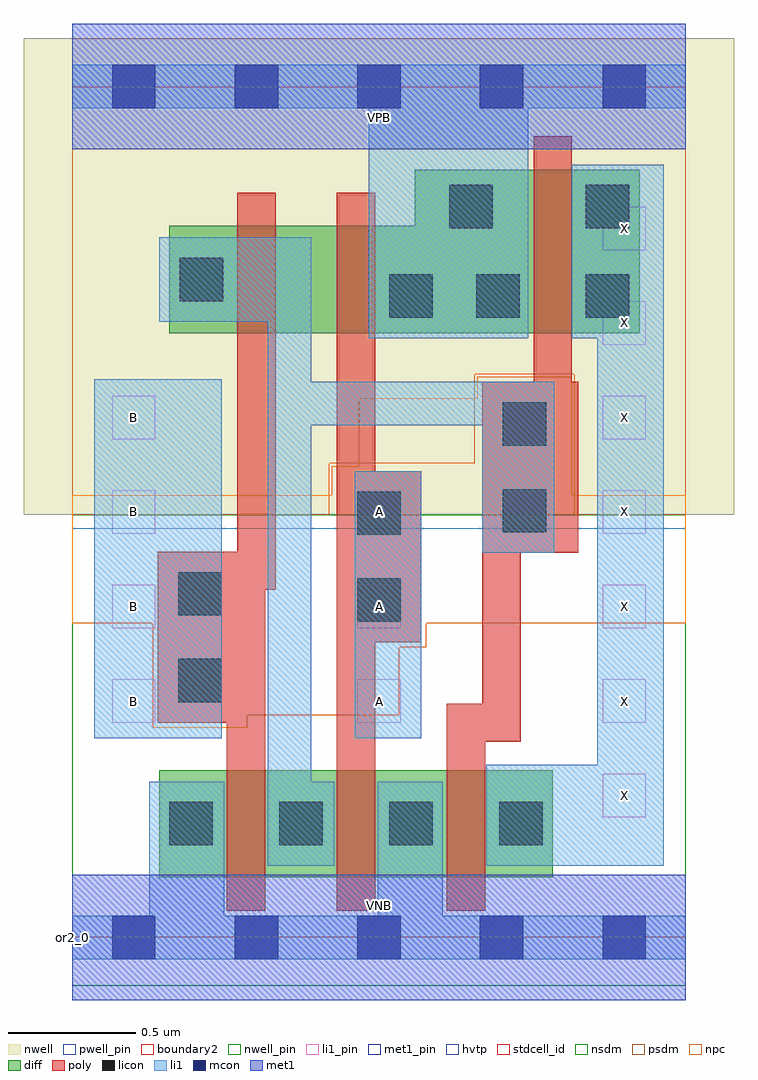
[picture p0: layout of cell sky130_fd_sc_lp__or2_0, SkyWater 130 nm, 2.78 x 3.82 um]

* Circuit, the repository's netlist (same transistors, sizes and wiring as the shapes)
* Copyright 2020 The SkyWater PDK Authors
*
* Licensed under the Apache License, Version 2.0 (the "License");
* you may not use this file except in compliance with the License.
* You may obtain a copy of the License at
*
*     https://www.apache.org/licenses/LICENSE-2.0
*
* Unless required by applicable law or agreed to in writing, software
* distributed under the License is distributed on an "AS IS" BASIS,
* WITHOUT WARRANTIES OR CONDITIONS OF ANY KIND, either express or implied.
* See the License for the specific language governing permissions and
* limitations under the License.
*
* SPDX-License-Identifier: Apache-2.0

.SUBCKT sky130_fd_sc_lp__or2_0 A B VGND VNB VPB VPWR X
*.PININFO A:I B:I VGND:I VNB:I VPB:I VPWR:I X:O
MMP0 VPWR A sndPA VPB sky130_fd_pr__pfet_01v8_hvt m=1 w=0.42U l=0.15U mult=1 sa=0.265
+ sb=0.265 sd=0.28 area=0.063 perim=1.14
MMP1 sndPA B y VPB sky130_fd_pr__pfet_01v8_hvt m=1 w=0.42U l=0.15U mult=1 sa=0.265
+ sb=0.265 sd=0.28 area=0.063 perim=1.14
MMIP2 X y VPWR VPB sky130_fd_pr__pfet_01v8_hvt m=1 w=0.64U l=0.15U mult=1 sa=0.265
+ sb=0.265 sd=0.28 area=0.063 perim=1.14
MMN0 y A VGND VNB sky130_fd_pr__nfet_01v8 m=1 w=0.42U l=0.15U mult=1 sa=0.265 sb=0.265
+ sd=0.28 area=0.063 perim=1.14
MMN1 y B VGND VNB sky130_fd_pr__nfet_01v8 m=1 w=0.42U l=0.15U mult=1 sa=0.265 sb=0.265
+ sd=0.28 area=0.063 perim=1.14
MMIN2 X y VGND VNB sky130_fd_pr__nfet_01v8 m=1 w=0.42U l=0.15U mult=1 sa=0.265
+ sb=0.265 sd=0.28 area=0.063 perim=1.14
.ENDS sky130_fd_sc_lp__or2_0

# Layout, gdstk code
import gdstk
lib = gdstk.Library(unit=1e-6, precision=1e-09)
def R(c, l, rs):  # rectangles x0, y0, x1, y1
    for r in rs: c.add(gdstk.rectangle(r[:2], r[2:], *l))
def A(c, l, x, y, w, h, nx, ny, dx, dy):  # array of equal rectangles
    R(c, l, [(x+i*dx, y+j*dy, x+i*dx+w, y+j*dy+h) for i in range(nx) for j in range(ny)])
def P(c, l, *ps):  # polygons
    for p in ps: c.add(gdstk.Polygon(p, *l))
nwell_pin = (64, 16)
nwell = (64, 20)
diff = (65, 20)
poly = (66, 20)
licon = (66, 44)
li1_pin = (67, 16)
li1 = (67, 20)
mcon = (67, 44)
met1_pin = (68, 16)
met1 = (68, 20)
hvtp = (78, 44)
stdcell_id = (81, 4)
nsdm = (93, 44)
psdm = (94, 20)
npc = (95, 20)
pwell_pin = (122, 16)
boundary2 = (236, 0)

sky130_fd_sc_lp__or2_0 = lib.new_cell('sky130_fd_sc_lp__or2_0')
R(sky130_fd_sc_lp__or2_0, nwell_pin, [(0,3.085,2.4,3.33)])
R(sky130_fd_sc_lp__or2_0, nwell, [(-0.19,1.655,2.59,3.52)])
R(sky130_fd_sc_lp__or2_0, diff, [(0.34,0.235,1.88,0.655)])
P(sky130_fd_sc_lp__or2_0, diff, [(2.22,3.005),(1.34,3.005),(1.34,2.785),(0.38,2.785),(0.38,2.365),(2.22,2.365)])
P(sky130_fd_sc_lp__or2_0, poly, [(0.795,2.915),(0.645,2.915),(0.645,1.51),(0.335,1.51),(0.335,0.84),(0.605,0.84),(0.605,0.105),(0.755,0.105),(0.755,1.36),(0.795,1.36)],
  [(1.365,1.825),(1.185,1.825),(1.185,2.915),(1.035,2.915),(1.035,0.105),(1.185,0.105),(1.185,1.155),(1.365,1.155)],
  [(1.98,2.175),(1.955,2.175),(1.955,3.135),(1.805,3.135),(1.805,2.175),(1.605,2.175),(1.605,0.915),(1.465,0.915),(1.465,0.105),(1.615,0.105),(1.615,0.765),(1.755,0.765),(1.755,1.505),(1.98,1.505)])
A(sky130_fd_sc_lp__or2_0, licon, 0.38, 0.36, 0.17, 0.17, 4, 1, 0.43, 0)
R(sky130_fd_sc_lp__or2_0, licon, [(0.415,0.92,0.585,1.09), (1.115,1.235,1.285,1.405), (0.415,1.26,0.585,1.43), (1.115,1.575,1.285,1.745), (1.685,1.585,1.855,1.755), (1.685,1.925,1.855,2.095), (1.24,2.425,1.41,2.595), (1.58,2.425,1.75,2.595), (2.01,2.425,2.18,2.595), (0.42,2.49,0.59,2.66), (1.475,2.775,1.645,2.945), (2.01,2.775,2.18,2.945)])
A(sky130_fd_sc_lp__or2_0, li1_pin, 0.155, 0.84, 0.17, 0.17, 3, 3, 0.96, 0.37)
A(sky130_fd_sc_lp__or2_0, li1_pin, 2.075, 1.95, 0.17, 0.17, 1, 3, 0, 0.37)
R(sky130_fd_sc_lp__or2_0, li1_pin, [(2.075,0.47,2.245,0.64), (0.155,1.95,0.325,2.12)])
R(sky130_fd_sc_lp__or2_0, li1, [(0.085,0.78,0.585,2.185), (1.105,0.78,1.365,1.825)])
P(sky130_fd_sc_lp__or2_0, li1, [(2.4,0.085),(1.45,0.085),(1.45,0.61),(1.195,0.61),(1.195,0.085),(0.595,0.085),(0.595,0.61),(0.3,0.61),(0.3,0.085),(0,0.085),(0,-0.085),(2.4,-0.085)],
  [(1.885,2.175),(0.935,2.175),(0.935,2.74),(0.34,2.74),(0.34,2.41),(0.765,2.41),(0.765,0.28),(1.025,0.28),(1.025,0.61),(0.935,0.61),(0.935,2.005),(1.605,2.005),(1.605,1.505),(1.885,1.505)],
  [(2.315,3.025),(1.955,3.025),(1.955,2.345),(2.055,2.345),(2.055,0.675),(1.62,0.675),(1.62,0.28),(2.315,0.28)],
  [(2.4,3.415),(0,3.415),(0,3.245),(1.16,3.245),(1.16,2.345),(1.785,2.345),(1.785,3.245),(2.4,3.245)])
A(sky130_fd_sc_lp__or2_0, mcon, 0.155, -0.085, 0.17, 0.17, 5, 2, 0.48, 3.33)
R(sky130_fd_sc_lp__or2_0, met1_pin, [(0,0,2.4,0.245), (0,3.085,2.4,3.33)])
R(sky130_fd_sc_lp__or2_0, met1, [(0,-0.245,2.4,0.245), (0,3.085,2.4,3.575)])
R(sky130_fd_sc_lp__or2_0, hvtp, [(0,1.6,2.4,3.33)])
R(sky130_fd_sc_lp__or2_0, stdcell_id, [(0,0,2.4,3.33)])
R(sky130_fd_sc_lp__or2_0, nsdm, [(0,-0.19,2.4,1.655)])
P(sky130_fd_sc_lp__or2_0, psdm, [(2.4,3.52),(0,3.52),(0,1.655),(1.005,1.655),(1.005,1.855),(1.575,1.855),(1.575,2.205),(1.965,2.205),(1.965,1.655),(2.4,1.655)])
P(sky130_fd_sc_lp__or2_0, npc, [(2.4,1.73),(1.955,1.73),(1.955,2.195),(1.585,2.195),(1.585,2.11),(1.12,2.11),(1.12,1.845),(1.015,1.845),(1.015,1.73),(0,1.73),(0,1.23),(0.315,1.23),(0.315,0.82),(0.685,0.82),(0.685,0.87),(1.28,0.87),(1.28,1.135),(1.385,1.135),(1.385,1.23),(2.4,1.23)])
R(sky130_fd_sc_lp__or2_0, pwell_pin, [(0,0,2.4,0.245)])
R(sky130_fd_sc_lp__or2_0, boundary2, [(0,0,2.4,3.33)])
sky130_fd_sc_lp__or2_0.add(gdstk.Label('VNB', (1.2,0.123), layer=64, texttype=59))
sky130_fd_sc_lp__or2_0.add(gdstk.Label('VPB', (1.2,3.208), layer=64, texttype=5))
sky130_fd_sc_lp__or2_0.add(gdstk.Label('or2_0', (0,0), layer=83, texttype=44))
sky130_fd_sc_lp__or2_0.add(gdstk.Label('VPWR', (1.2,3.208), layer=68, texttype=5))
sky130_fd_sc_lp__or2_0.add(gdstk.Label('VGND', (1.2,0.123), layer=68, texttype=5))
sky130_fd_sc_lp__or2_0.add(gdstk.Label('X', (2.16,0.555), layer=67, texttype=5))
sky130_fd_sc_lp__or2_0.add(gdstk.Label('X', (2.16,0.925), layer=67, texttype=5))
sky130_fd_sc_lp__or2_0.add(gdstk.Label('X', (2.16,1.295), layer=67, texttype=5))
sky130_fd_sc_lp__or2_0.add(gdstk.Label('X', (2.16,1.665), layer=67, texttype=5))
sky130_fd_sc_lp__or2_0.add(gdstk.Label('X', (2.16,2.035), layer=67, texttype=5))
sky130_fd_sc_lp__or2_0.add(gdstk.Label('X', (2.16,2.405), layer=67, texttype=5))
sky130_fd_sc_lp__or2_0.add(gdstk.Label('X', (2.16,2.775), layer=67, texttype=5))
sky130_fd_sc_lp__or2_0.add(gdstk.Label('A', (1.2,0.925), layer=67, texttype=5))
sky130_fd_sc_lp__or2_0.add(gdstk.Label('A', (1.2,1.295), layer=67, texttype=5))
sky130_fd_sc_lp__or2_0.add(gdstk.Label('A', (1.2,1.665), layer=67, texttype=5))
sky130_fd_sc_lp__or2_0.add(gdstk.Label('B', (0.24,0.925), layer=67, texttype=5))
sky130_fd_sc_lp__or2_0.add(gdstk.Label('B', (0.24,1.295), layer=67, texttype=5))
sky130_fd_sc_lp__or2_0.add(gdstk.Label('B', (0.24,1.665), layer=67, texttype=5))
sky130_fd_sc_lp__or2_0.add(gdstk.Label('B', (0.24,2.035), layer=67, texttype=5))

lib.write_gds('sky130_fd_sc_lp__or2_0.gds')
